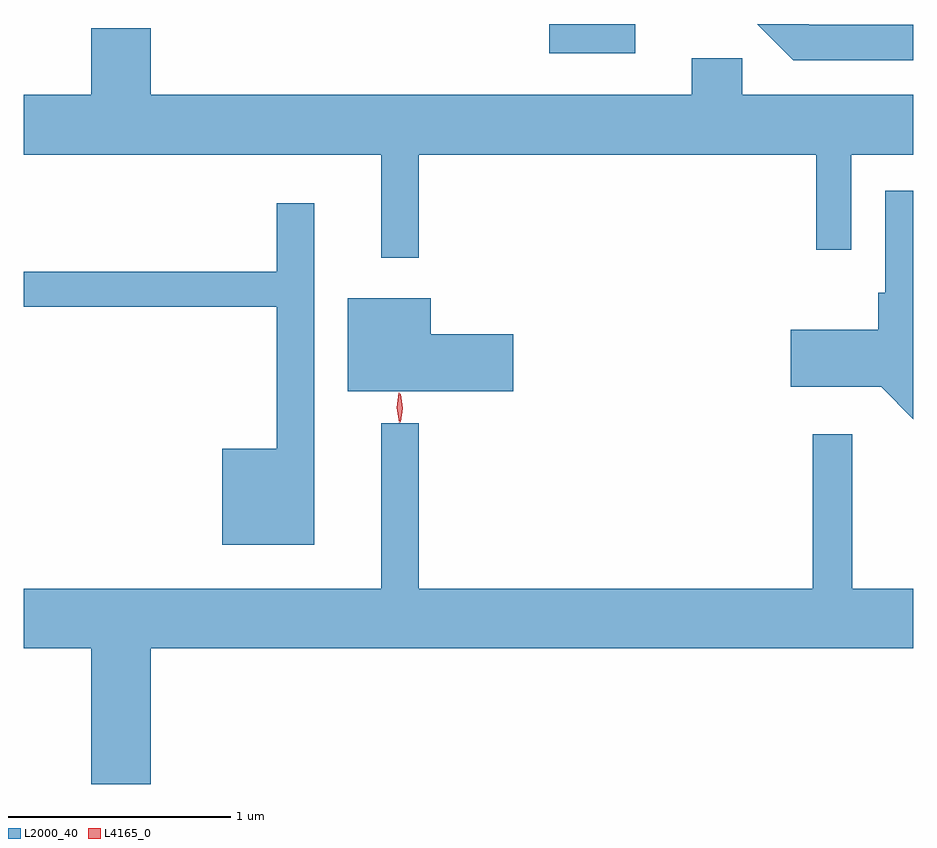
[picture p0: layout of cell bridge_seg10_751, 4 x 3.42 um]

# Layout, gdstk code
import gdstk
lib = gdstk.Library(unit=1e-6, precision=1e-09)
def R(c, l, rs):  # rectangles x0, y0, x1, y1
    for r in rs: c.add(gdstk.rectangle(r[:2], r[2:], *l))
def P(c, l, *ps):  # polygons
    for p in ps: c.add(gdstk.Polygon(p, *l))
L2000_40 = (2000, 40)
L4165_0 = (4165, 0)

bridge_seg10_751 = lib.new_cell('bridge_seg10_751')
R(bridge_seg10_751, L2000_40, [(536.816,2129.911,537.203,2130.043)])
P(bridge_seg10_751, L2000_40, [(538.453,2130.039),(537.987,2130.039),(537.983,2130.043),(537.752,2130.043),(537.914,2129.881),(538.453,2129.881)],
  [(535.024,2130.024),(534.756,2130.024),(534.756,2129.724),(534.453,2129.724),(534.453,2129.456),(536.061,2129.456),(536.061,2128.993),(536.229,2128.993),(536.229,2129.456),(538.016,2129.456),(538.016,2129.028),(538.174,2129.028),(538.174,2129.456),(538.453,2129.456),(538.453,2129.724),(537.684,2129.724),(537.684,2129.889),(537.456,2129.889),(537.456,2129.724),(535.024,2129.724)],
  [(538.453,2129.294),(538.326,2129.294),(538.326,2128.834),(538.296,2128.834),(538.296,2128.669),(537.901,2128.669),(537.901,2128.411),(538.309,2128.411),(538.453,2128.267)],
  [(535.759,2129.238),(535.591,2129.238),(535.591,2128.929),(534.453,2128.929),(534.453,2128.771),(535.591,2128.771),(535.591,2128.134),(535.346,2128.134),(535.346,2127.701),(535.759,2127.701)],
  [(536.654,2128.649),(536.284,2128.649),(536.284,2128.809),(535.911,2128.809),(535.911,2128.391),(536.654,2128.391)],
  [(535.024,2127.236),(538.453,2127.236),(538.453,2127.504),(538.179,2127.504),(538.179,2128.199),(538.001,2128.199),(538.001,2127.504),(536.229,2127.504),(536.229,2128.248),(536.061,2128.248),(536.061,2127.504),(534.453,2127.504),(534.453,2127.236),(534.756,2127.236),(534.756,2126.626),(535.024,2126.626)])
P(bridge_seg10_751, L4165_0, [(536.141,2128.25),(536.131,2128.318),(536.14,2128.385),(536.14,2128.386),(536.141,2128.385),(536.151,2128.318),(536.142,2128.25),(536.142,2128.25)],
  [(536.147,2128.253),(536.147,2128.254),(536.137,2128.316),(536.147,2128.379),(536.147,2128.38),(536.148,2128.379),(536.157,2128.316),(536.148,2128.254)])

lib.write_gds('bridge_seg10_751.gds')
